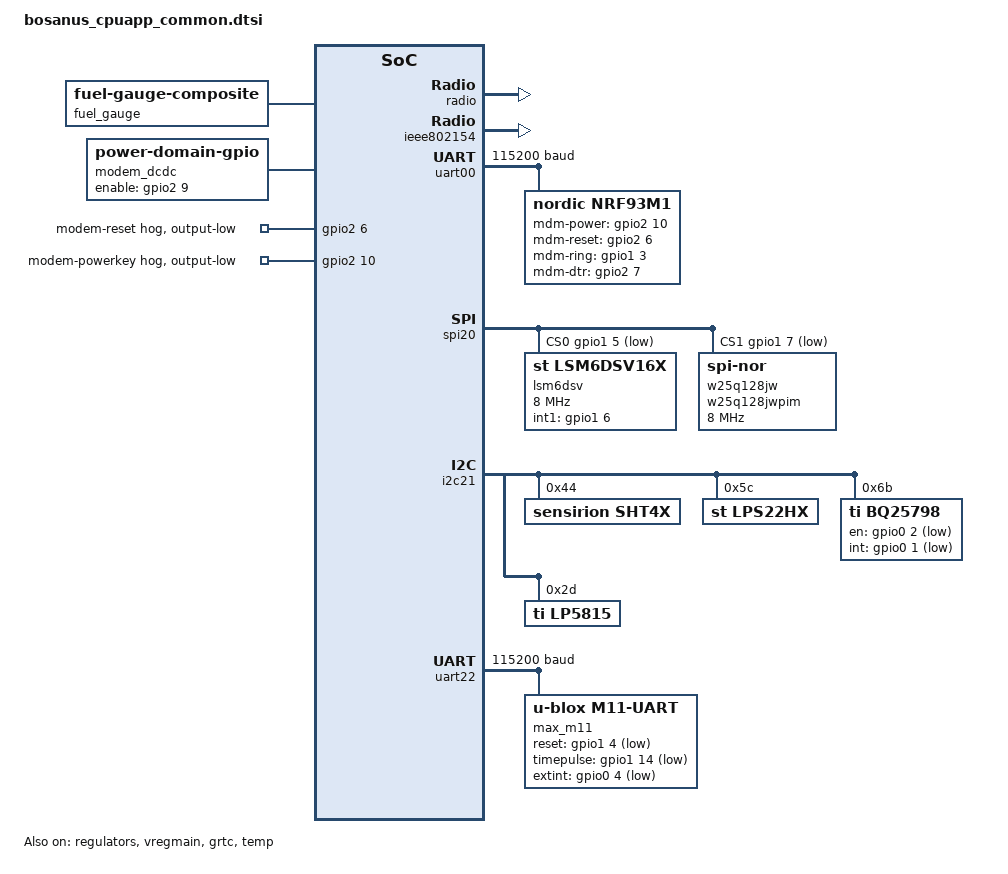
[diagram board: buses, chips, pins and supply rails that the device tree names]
/*
 * Copyright (c) 2026 Embeint Inc
 *
 * SPDX-License-Identifier: Apache-2.0
 */

/* This file is common to the secure and non-secure domain */

#include "bosanus-pinctrl.dtsi"
#include <zephyr/dt-bindings/battery/battery.h>
#include <zephyr/dt-bindings/sensor/lps22hh.h>
#include <zephyr/dt-bindings/led/led.h>

/ {
	chosen {
		zephyr,console = &rtt0;
		zephyr,flash-controller = &rram_controller;
		zephyr,flash = &cpuapp_rram;
	};

	rtt0: rtt_chan0 {
		compatible = "segger,rtt-uart";
		status = "okay";
	};

	fuel_gauge: fuel_gauge {
		compatible = "zephyr,fuel-gauge-composite";
		source-primary = <&bq25798>;
		device-chemistry = "lithium-ion-polymer";
		ocv-capacity-table-0 = <BATTERY_OCV_CURVE_LITHIUM_ION_POLYMER_DEFAULT>;
		charge-full-design-microamp-hours = <13400000>;
		fuel-gauge-channels;
	};

	modem_dcdc: modem_dcdc {
		compatible = "power-domain-gpio";
		enable-gpios = <&gpio2 9 GPIO_ACTIVE_HIGH>;
		#power-domain-cells = <0>;
		startup-delay-us = <100000>; /* wait for 100ms to stabilize dcdc supply */
		off-on-delay-us = <500000>; /* wait for 500ms to stabilize main supply */
	};

	aliases {
		led-controller0 = &lp5815;
		watchdog0 = &wdt31;
		fuel-gauge0 = &fuel_gauge;
		environmental0 = &sht4x;
		environmental1 = &lps22hx;
		imu0 = &lsm6dsv;
		modem = &nrf93m1;
		gnss = &max_m11;
	};
};

&cpuapp_sram {
	status = "okay";
};

&lfxo {
	load-capacitors = "internal";
	load-capacitance-femtofarad = <9000>;
};

&hfxo {
	load-capacitors = "internal";
	load-capacitance-femtofarad = <9000>;
};

&regulators {
	status = "okay";
};

&vregmain {
	status = "okay";
	regulator-initial-mode = <NRF5X_REG_MODE_DCDC>;
};

&grtc {
	owned-channels = <0 1 2 3 4 5 6 7 8 9 10 11>;
	/* Channels 7-11 reserved for Zero Latency IRQs, 3-4 for FLPR */
	child-owned-channels = <3 4 7 8 9 10 11>;
	status = "okay";
};

&gpio0 {
	status = "okay";
};

&gpio1 {
	status = "okay";
};

&gpio2 {
	status = "okay";

	modem-reset {
		gpio-hog;
		gpios = <6 GPIO_ACTIVE_HIGH>;
		output-low;
	};

	modem-powerkey {
		gpio-hog;
		gpios = <10 GPIO_ACTIVE_HIGH>;
		output-low;
	};
};

&gpiote20 {
	status = "okay";
};

&gpiote30 {
	status = "okay";
};

&radio {
	status = "okay";
};

&ieee802154 {
	status = "okay";
};

&temp {
	status = "okay";
};

&clock {
	status = "okay";
};

&uart00 {
	status = "okay";
	pinctrl-0 = <&uart00_default>;
	pinctrl-1 = <&uart00_sleep>;
	pinctrl-names = "default", "sleep";
	current-speed = <115200>;
	hw-flow-control;

	nrf93m1: nrf93m1 {
		compatible = "nordic,nrf93m1";
		power-domains = <&modem_dcdc>;
		mdm-power-gpios = <&gpio2 10 GPIO_ACTIVE_HIGH>;
		mdm-reset-gpios = <&gpio2 6 GPIO_ACTIVE_HIGH>;

		mdm-ring-gpios = <&gpio1 3 GPIO_ACTIVE_HIGH>;
		mdm-dtr-gpios = <&gpio2 7 GPIO_ACTIVE_HIGH>;
		/* Not currently supported by driver.
		 * mdm-status-gpios = <&gpio0 3 GPIO_ACTIVE_HIGH>;
		 */
	};
};

&spi20 {
	status = "okay";
	cs-gpios = <&gpio1 5 (GPIO_ACTIVE_LOW | GPIO_OPEN_DRAIN)>,
		   <&gpio1 7 (GPIO_ACTIVE_LOW | GPIO_OPEN_DRAIN)>;
	pinctrl-0 = <&spi20_default>;
	pinctrl-1 = <&spi20_sleep>;
	pinctrl-names = "default", "sleep";

	lsm6dsv: lsm6dsv@0 {
		compatible = "st,lsm6dsv16x";
		status = "okay";
		reg = <0>;
		spi-max-frequency = <8000000>;
		int1-gpios = <&gpio1 6 (GPIO_ACTIVE_HIGH | GPIO_PULL_DOWN)>;
	};

	w25q128jw: w25q128jwpim@1 {
		compatible = "jedec,spi-nor";
		status = "okay";
		reg = <1>;
		spi-max-frequency = <8000000>;
		size = <134217728>;
		has-dpd;
		t-enter-dpd = <3000>;
		t-exit-dpd = <20000>;
		jedec-id = [ef 40 18];
	};
};

&i2c21 {
	status = "okay";
	pinctrl-0 = <&i2c21_default>;
	pinctrl-1 = <&i2c21_sleep>;
	pinctrl-names = "default", "sleep";

	sht4x: sht4x@44 {
		compatible = "sensirion,sht4x";
		status = "okay";
		reg = <0x44>;
		repeatability = <2>;
	};

	lps22hx: lps22hx@5c {
		compatible = "st,lps22hx";
		status = "okay";
		reg = <0x5c>;
		odr = <LPS22HH_DT_ODR_POWER_DOWN>;
	};

	bq25798: bq25798@6b {
		compatible = "ti,bq25798";
		status = "okay";
		reg = <0x6b>;
		en-gpios = <&gpio0 2 GPIO_ACTIVE_LOW>;
		int-gpios = <&gpio0 1 (GPIO_ACTIVE_LOW | GPIO_PULL_UP)>;
		ts-rt1 = <5240>;
		ts-rt2 = <30310>;
		mppt-ratio = <81>;
		vac-ovp = <26>;
		input-current-limit = <999>;
		v-in-dpm = <3000>;
		acdrv1-en;
		acdrv2-en;
	};

	lp5815: lp5815@2d {
		compatible = "ti,lp5815";
		reg = <0x2d>;
		/* 1/4 of maximum current (~6mA) */
		out0-current-max = <0x40>;
		out1-current-max = <0x40>;
		out2-current-max = <0x40>;

		red_led: led_0 {
			index = <0>;
			color-mapping = <LED_COLOR_ID_RED>;
		};
		green_led: led_1 {
			index = <1>;
			color-mapping = <LED_COLOR_ID_GREEN>;
		};
		blue_led: led_2 {
			index = <2>;
			color-mapping = <LED_COLOR_ID_BLUE>;
		};
	};
};

&uart22 {
	pinctrl-0 = <&uart22_default>;
	pinctrl-1 = <&uart22_sleep>;
	pinctrl-names = "default", "sleep";
	current-speed = <115200>;
	status = "okay";

	max_m11: max_m11 {
		compatible = "u-blox,m11-uart";
		reset-gpios = <&gpio1 4 GPIO_ACTIVE_LOW>;
		timepulse-gpios = <&gpio1 14 GPIO_ACTIVE_LOW>;
		reset-gpios = <&gpio1 4 GPIO_ACTIVE_LOW>;
		extint-gpios = <&gpio0 4 GPIO_ACTIVE_LOW>;
	};
};
